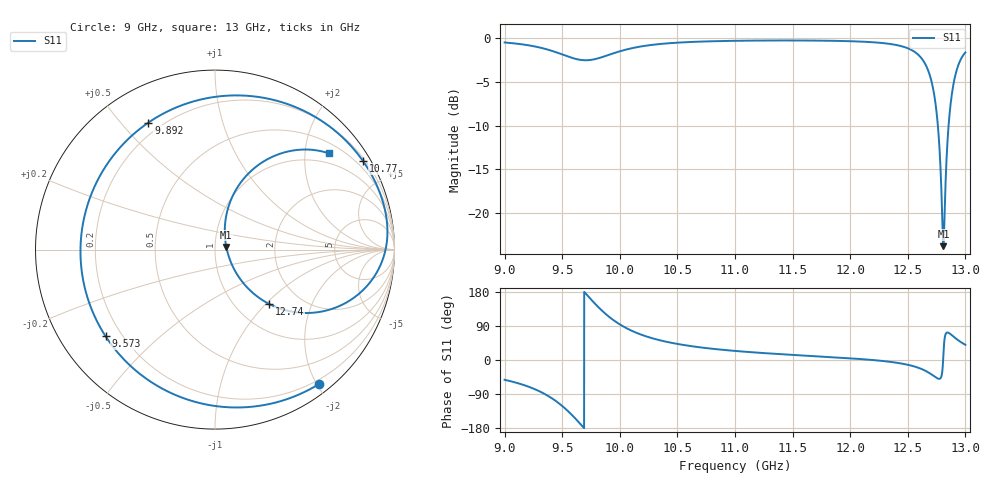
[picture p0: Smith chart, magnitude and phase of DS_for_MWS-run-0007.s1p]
! TOUCHSTONE file generated by CST DESIGN STUDIO
! Date and time: Tue Feb  4 13:02:22 2025
! Project name: C:\Work\MatlabApps\UnitCellOptimizationMatlab\CST\unitcell.cst
! Tree item: Tasks\Sweep1\SPara1\S-Parameters
! Header version: 2024
! Port assignment regex: !\s*Touchstone port\s*([0-9]+)\s*=\s*(CST MWS port|CST DES external port|CST DES block port)\s*(.+)\s* \(\"(.*)\"\)(\s*mode\s*([0-9]+))?.*
! Touchstone port assignment:
! Touchstone port 1 = CST DES external port 1 ("")
# GHz S MA R 50
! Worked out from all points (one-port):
!   4001 points, 9 GHz to 13 GHz, reference 50 ohm
!   lowest |S11| = -23.8 dB at 12.81 GHz (marker M1), VSWR 1.14, Z = 56.7 + j1.6 ohm
!   |S11| at or under -10 dB: 12.76 GHz to 12.85 GHz (92.82 MHz wide, 0.725 % of centre)
!   S11 on the Smith chart (normalised r, x): 9 GHz: 0.14, -2.03; 9.573 GHz: 0.14, -0.34; 9.892 GHz: 0.15, +0.59; 10.77 GHz: 0.28, +3.60; 12.74 GHz: 1.41, -1.04; 13 GHz: 0.74, +2.55
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9  0.9469 -52.3
9.166  0.9214 -66.0
9.319  0.8818 -85.1
9.5  0.809 -121.3
9.573  0.7777 -141.6
9.65  0.7545 -166.2
9.721  0.7497 169.6
9.811  0.7682 140.3
9.892  0.7991 117.7
10  0.8429 94.0
10.224  0.9073 62.8
10.5  0.9448 42.4
10.766  0.961 30.9
11  0.9682 23.9
11.5  0.9725 13.5
12  0.9631 4.5
12.5  0.8773 -12.6
12.633  0.7471 -25.6
12.696  0.5995 -36.0
12.74  0.4262 -45.2
12.766  0.2888 -49.5
12.796  0.1099 -37.6
12.809  0.06462 12.5
12.822  0.1132 61.3
12.853  0.3101 71.9
12.882  0.4765 65.6
12.932  0.6827 53.3
13  0.8307 40.2
